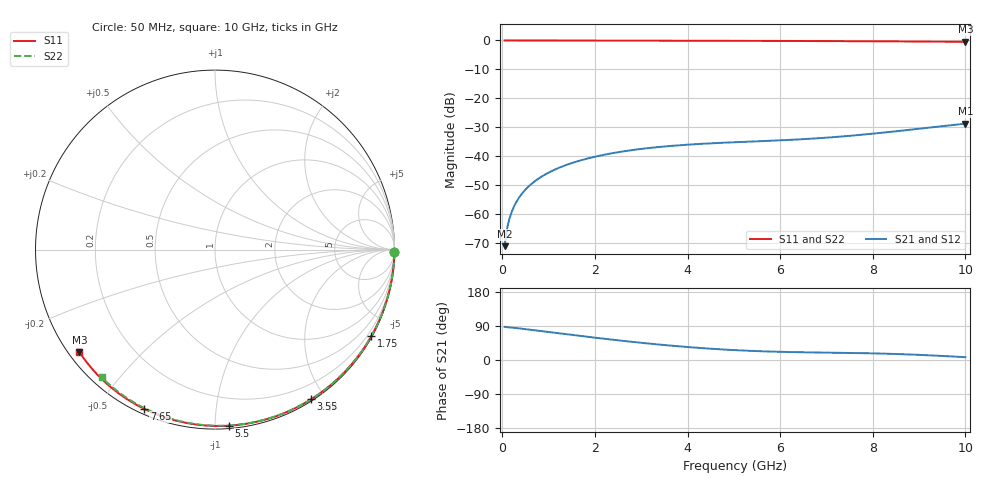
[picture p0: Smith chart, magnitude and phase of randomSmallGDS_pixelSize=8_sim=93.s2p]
! freq	dB(S11)	phase(S11)	dB(S12)	phase(S12)
!  dB(S21)	phase(S21)	dB(S22)	phase(S22)
!S-par simulation data
#  GHz  S  DB  R 50
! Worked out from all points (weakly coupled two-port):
!   200 points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, 50 MHz to 10 GHz, reference 50 ohm
!   highest |S21| = -28.79 dB at 10 GHz (marker M1); lowest = -71.2 dB at 50 MHz (marker M2)
!   lowest |S11| = -0.5 dB at 10 GHz (marker M3), VSWR 36.73, Z = 1.51 - j16.7 ohm
!   |S11| at or under -10 dB: nowhere
!   |S22| runs from -0.4 to 0.0 dB; largest |S21 - S12| = 0
!   S11 on the Smith chart (normalised r, x): 50 MHz: open; 1.75 GHz: 0.03, -3.86; 3.55 GHz: 0.02, -1.83; 5.5 GHz: 0.02, -1.08; 7.65 GHz: 0.02, -0.65; 10 GHz: 0.03, -0.33
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0.05  -0.00 -0.8  -71.18 87.7  -71.18 87.7  -0.00 -0.8
0.1  -0.00 -1.7  -65.33 86.7  -65.33 86.7  -0.00 -1.5
0.15  -0.00 -2.5  -61.91 86.1  -61.91 86.1  -0.00 -2.3
0.2  -0.00 -3.4  -59.46 85.5  -59.46 85.5  -0.00 -3.1
0.25  -0.00 -4.2  -57.55 84.9  -57.55 84.9  -0.00 -3.9
0.35  -0.00 -5.9  -54.67 83.6  -54.67 83.6  -0.00 -5.4
0.5  -0.01 -8.4  -51.61 81.4  -51.61 81.4  -0.01 -7.7
0.7  -0.01 -11.8  -48.73 78.4  -48.73 78.4  -0.01 -10.8
1  -0.02 -16.7  -45.73 73.8  -45.73 73.8  -0.02 -15.3
1.35  -0.03 -22.5  -43.27 68.5  -43.27 68.5  -0.03 -20.6
1.75  -0.04 -29.0  -41.23 62.5  -41.23 62.5  -0.03 -26.6
2.5  -0.05 -41.1  -38.67 51.9  -38.67 51.9  -0.05 -37.6
3.4  -0.07 -55.0  -36.84 40.6  -36.84 40.6  -0.07 -50.5
3.55  -0.08 -57.3  -36.62 38.9  -36.62 38.9  -0.07 -52.6
4.3  -0.10 -68.5  -35.77 31.4  -35.77 31.4  -0.09 -62.9
5.05  -0.12 -79.3  -35.20 25.8  -35.20 25.8  -0.11 -72.9
5.5  -0.14 -85.5  -34.90 23.4  -34.90 23.4  -0.13 -78.7
6.7  -0.20 -101.7  -33.96 20.0  -33.96 20.0  -0.18 -93.7
7.65  -0.26 -113.9  -32.79 18.4  -32.79 18.4  -0.23 -105.0
8.35  -0.31 -122.7  -31.68 16.4  -31.68 16.4  -0.28 -113.1
9.2  -0.39 -133.1  -30.20 12.5  -30.20 12.5  -0.36 -122.7
10  -0.47 -142.9  -28.79 7.4  -28.79 7.4  -0.44 -131.6
